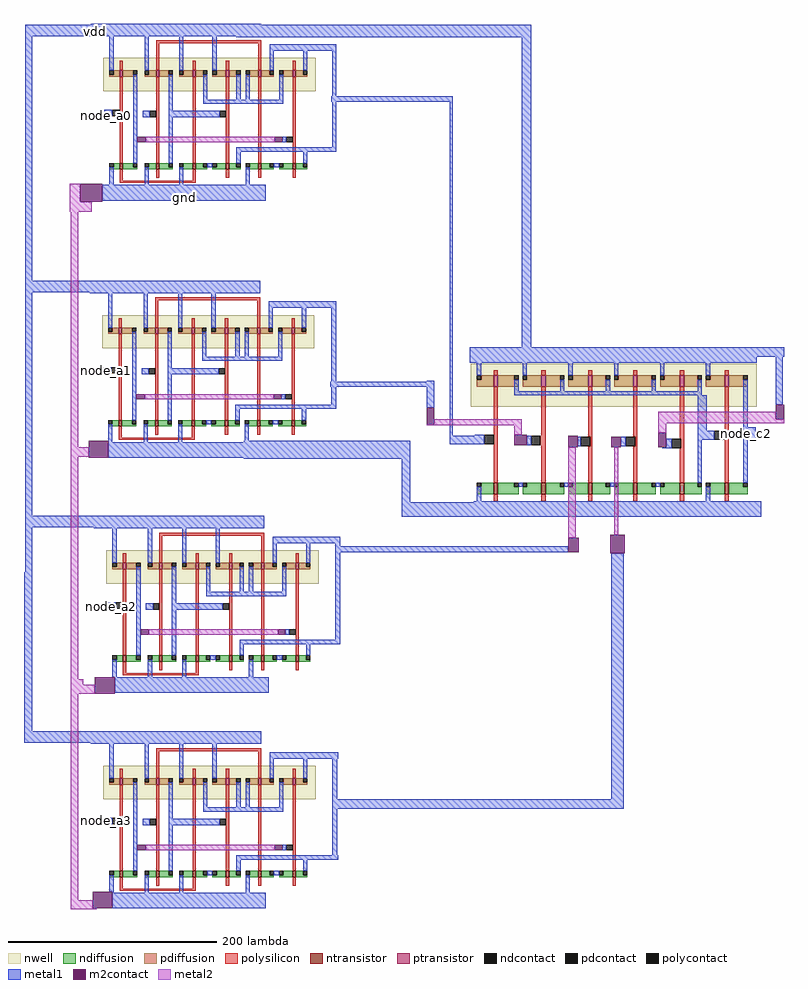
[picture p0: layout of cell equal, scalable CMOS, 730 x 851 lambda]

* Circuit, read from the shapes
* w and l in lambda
.subckt equal gnd node_a0 node_a1 node_a2 node_a3 node_b0 node_b1 node_b2 node_b3 node_c2 vdd
M1 n1 node_a1 gnd VSUBS nfet w=6 l=3
M2 n2 node_a3 gnd VSUBS nfet w=6 l=3
M3 n3 node_a0 gnd VSUBS nfet w=6 l=3
M4 n4 node_a2 gnd VSUBS nfet w=6 l=3
M5 n5 node_b1 gnd VSUBS nfet w=6 l=3
M6 n6 node_b3 gnd VSUBS nfet w=6 l=3
M7 n7 node_b0 gnd VSUBS nfet w=6 l=3
M8 n8 node_b2 gnd VSUBS nfet w=6 l=3
M9 n9 node_a1 gnd VSUBS nfet w=6 l=3
M10 n10 node_a3 gnd VSUBS nfet w=6 l=3
M11 n11 node_a0 gnd VSUBS nfet w=6 l=3
M12 n12 node_a2 gnd VSUBS nfet w=6 l=3
M13 n13 n5 n9 VSUBS nfet w=6 l=3
M14 n14 n6 n10 VSUBS nfet w=6 l=3
M15 n15 n7 n11 VSUBS nfet w=6 l=3
M16 n16 n8 n12 VSUBS nfet w=6 l=3
M17 n17 node_b1 gnd VSUBS nfet w=6 l=3
M18 n18 node_b3 gnd VSUBS nfet w=6 l=3
M19 n19 node_b0 gnd VSUBS nfet w=6 l=3
M20 n20 node_b2 gnd VSUBS nfet w=6 l=3
M21 n13 n1 n17 VSUBS nfet w=6 l=3
M22 n14 n2 n18 VSUBS nfet w=6 l=3
M23 n15 n3 n19 VSUBS nfet w=6 l=3
M24 n16 n4 n20 VSUBS nfet w=6 l=3
M25 n21 n15 gnd VSUBS nfet w=11 l=4
M26 n22 n13 n21 VSUBS nfet w=11 l=4
M27 n23 n16 n22 VSUBS nfet w=11 l=4
M28 n24 n14 n23 VSUBS nfet w=11 l=4
M29 n25 vdd n24 VSUBS nfet w=11 l=4
M30 node_c2 n25 gnd VSUBS nfet w=11 l=4
M31 n1 node_a1 vdd n26 pfet w=6 l=3
M32 n2 node_a3 vdd n27 pfet w=6 l=3
M33 n3 node_a0 vdd n28 pfet w=6 l=3
M34 n4 node_a2 vdd n29 pfet w=6 l=3
M35 n5 node_b1 vdd n26 pfet w=6 l=3
M36 n6 node_b3 vdd n27 pfet w=6 l=3
M37 n7 node_b0 vdd n28 pfet w=6 l=3
M38 n8 node_b2 vdd n29 pfet w=6 l=3
M39 n30 node_a1 vdd n26 pfet w=6 l=3
M40 n31 node_a3 vdd n27 pfet w=6 l=3
M41 n32 node_a0 vdd n28 pfet w=6 l=3
M42 n33 node_a2 vdd n29 pfet w=6 l=3
M43 n30 n5 vdd n26 pfet w=6 l=3
M44 n31 n6 vdd n27 pfet w=6 l=3
M45 n32 n7 vdd n28 pfet w=6 l=3
M46 n33 n8 vdd n29 pfet w=6 l=3
M47 n13 node_b1 n30 n26 pfet w=6 l=3
M48 n14 node_b3 n31 n27 pfet w=6 l=3
M49 n15 node_b0 n32 n28 pfet w=6 l=3
M50 n16 node_b2 n33 n29 pfet w=6 l=3
M51 n13 n1 n30 n26 pfet w=6 l=3
M52 n14 n2 n31 n27 pfet w=6 l=3
M53 n15 n3 n32 n28 pfet w=6 l=3
M54 n16 n4 n33 n29 pfet w=6 l=3
M55 n25 n15 vdd n34 pfet w=11 l=4
M56 n25 n13 vdd n34 pfet w=11 l=4
M57 n25 n16 vdd n34 pfet w=11 l=4
M58 n25 n14 vdd n34 pfet w=11 l=4
M59 n25 vdd vdd n34 pfet w=11 l=4
M60 node_c2 n25 vdd n34 pfet w=11 l=4
.ends

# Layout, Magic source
magic
tech scmos
<< nwell >>
rect -1105 547 -901 579
rect -1106 300 -902 332
rect -752 244 -477 285
rect -1102 74 -898 106
rect -1105 -133 -901 -101
<< ntransistor >>
rect -1089 472 -1086 478
rect -1054 472 -1051 478
rect -1019 472 -1016 478
rect -987 472 -984 478
rect -956 472 -953 478
rect -923 472 -920 478
rect -1090 225 -1087 231
rect -1055 225 -1052 231
rect -1020 225 -1017 231
rect -988 225 -985 231
rect -957 225 -954 231
rect -924 225 -921 231
rect -730 160 -726 171
rect -684 160 -680 171
rect -639 160 -635 171
rect -596 160 -592 171
rect -551 160 -547 171
rect -508 160 -504 171
rect -1086 -1 -1083 5
rect -1051 -1 -1048 5
rect -1016 -1 -1013 5
rect -984 -1 -981 5
rect -953 -1 -950 5
rect -920 -1 -917 5
rect -1089 -208 -1086 -202
rect -1054 -208 -1051 -202
rect -1019 -208 -1016 -202
rect -987 -208 -984 -202
rect -956 -208 -953 -202
rect -923 -208 -920 -202
<< ptransistor >>
rect -1089 561 -1086 567
rect -1054 561 -1051 567
rect -1019 561 -1016 567
rect -987 561 -984 567
rect -956 561 -953 567
rect -923 561 -920 567
rect -1090 314 -1087 320
rect -1055 314 -1052 320
rect -1020 314 -1017 320
rect -988 314 -985 320
rect -957 314 -954 320
rect -924 314 -921 320
rect -730 263 -726 274
rect -684 263 -680 274
rect -639 263 -635 274
rect -596 263 -592 274
rect -551 263 -547 274
rect -508 263 -504 274
rect -1086 88 -1083 94
rect -1051 88 -1048 94
rect -1016 88 -1013 94
rect -984 88 -981 94
rect -953 88 -950 94
rect -920 88 -917 94
rect -1089 -119 -1086 -113
rect -1054 -119 -1051 -113
rect -1019 -119 -1016 -113
rect -987 -119 -984 -113
rect -956 -119 -953 -113
rect -923 -119 -920 -113
<< ndiffusion >>
rect -1095 474 -1089 478
rect -1099 472 -1089 474
rect -1086 474 -1076 478
rect -1086 472 -1072 474
rect -1061 474 -1054 478
rect -1065 472 -1054 474
rect -1051 474 -1042 478
rect -1051 472 -1038 474
rect -1028 474 -1019 478
rect -1032 472 -1019 474
rect -1016 474 -1009 478
rect -1016 472 -1005 474
rect -996 474 -987 478
rect -1000 472 -987 474
rect -984 474 -977 478
rect -984 472 -973 474
rect -964 474 -956 478
rect -968 472 -956 474
rect -953 474 -945 478
rect -953 472 -941 474
rect -932 474 -923 478
rect -936 472 -923 474
rect -920 474 -913 478
rect -920 472 -909 474
rect -1096 227 -1090 231
rect -1100 225 -1090 227
rect -1087 227 -1077 231
rect -1087 225 -1073 227
rect -1062 227 -1055 231
rect -1066 225 -1055 227
rect -1052 227 -1043 231
rect -1052 225 -1039 227
rect -1029 227 -1020 231
rect -1033 225 -1020 227
rect -1017 227 -1010 231
rect -1017 225 -1006 227
rect -997 227 -988 231
rect -1001 225 -988 227
rect -985 227 -978 231
rect -985 225 -974 227
rect -965 227 -957 231
rect -969 225 -957 227
rect -954 227 -946 231
rect -954 225 -942 227
rect -933 227 -924 231
rect -937 225 -924 227
rect -921 227 -914 231
rect -921 225 -910 227
rect -742 167 -730 171
rect -746 160 -730 167
rect -726 167 -710 171
rect -726 160 -706 167
rect -698 167 -684 171
rect -702 160 -684 167
rect -680 167 -666 171
rect -680 160 -662 167
rect -654 167 -639 171
rect -658 160 -639 167
rect -635 167 -622 171
rect -635 160 -618 167
rect -610 167 -596 171
rect -614 160 -596 167
rect -592 167 -578 171
rect -592 160 -574 167
rect -566 167 -551 171
rect -570 160 -551 167
rect -547 167 -534 171
rect -547 160 -530 167
rect -522 167 -508 171
rect -526 160 -508 167
rect -504 167 -490 171
rect -504 160 -486 167
rect -1092 1 -1086 5
rect -1096 -1 -1086 1
rect -1083 1 -1073 5
rect -1083 -1 -1069 1
rect -1058 1 -1051 5
rect -1062 -1 -1051 1
rect -1048 1 -1039 5
rect -1048 -1 -1035 1
rect -1025 1 -1016 5
rect -1029 -1 -1016 1
rect -1013 1 -1006 5
rect -1013 -1 -1002 1
rect -993 1 -984 5
rect -997 -1 -984 1
rect -981 1 -974 5
rect -981 -1 -970 1
rect -961 1 -953 5
rect -965 -1 -953 1
rect -950 1 -942 5
rect -950 -1 -938 1
rect -929 1 -920 5
rect -933 -1 -920 1
rect -917 1 -910 5
rect -917 -1 -906 1
rect -1095 -206 -1089 -202
rect -1099 -208 -1089 -206
rect -1086 -206 -1076 -202
rect -1086 -208 -1072 -206
rect -1061 -206 -1054 -202
rect -1065 -208 -1054 -206
rect -1051 -206 -1042 -202
rect -1051 -208 -1038 -206
rect -1028 -206 -1019 -202
rect -1032 -208 -1019 -206
rect -1016 -206 -1009 -202
rect -1016 -208 -1005 -206
rect -996 -206 -987 -202
rect -1000 -208 -987 -206
rect -984 -206 -977 -202
rect -984 -208 -973 -206
rect -964 -206 -956 -202
rect -968 -208 -956 -206
rect -953 -206 -945 -202
rect -953 -208 -941 -206
rect -932 -206 -923 -202
rect -936 -208 -923 -206
rect -920 -206 -913 -202
rect -920 -208 -909 -206
<< pdiffusion >>
rect -1095 563 -1089 567
rect -1099 561 -1089 563
rect -1086 563 -1076 567
rect -1086 561 -1072 563
rect -1061 563 -1054 567
rect -1065 561 -1054 563
rect -1051 563 -1042 567
rect -1051 561 -1038 563
rect -1028 563 -1019 567
rect -1032 561 -1019 563
rect -1016 563 -1009 567
rect -1016 561 -1005 563
rect -996 563 -987 567
rect -1000 561 -987 563
rect -984 563 -977 567
rect -984 561 -973 563
rect -964 563 -956 567
rect -968 561 -956 563
rect -953 563 -945 567
rect -953 561 -941 563
rect -932 563 -923 567
rect -936 561 -923 563
rect -920 563 -913 567
rect -920 561 -909 563
rect -1096 316 -1090 320
rect -1100 314 -1090 316
rect -1087 316 -1077 320
rect -1087 314 -1073 316
rect -1062 316 -1055 320
rect -1066 314 -1055 316
rect -1052 316 -1043 320
rect -1052 314 -1039 316
rect -1029 316 -1020 320
rect -1033 314 -1020 316
rect -1017 316 -1010 320
rect -1017 314 -1006 316
rect -997 316 -988 320
rect -1001 314 -988 316
rect -985 316 -978 320
rect -985 314 -974 316
rect -965 316 -957 320
rect -969 314 -957 316
rect -954 316 -946 320
rect -954 314 -942 316
rect -933 316 -924 320
rect -937 314 -924 316
rect -921 316 -914 320
rect -921 314 -910 316
rect -742 270 -730 274
rect -746 263 -730 270
rect -726 270 -710 274
rect -726 263 -706 270
rect -698 270 -684 274
rect -702 263 -684 270
rect -680 270 -666 274
rect -680 263 -662 270
rect -654 270 -639 274
rect -658 263 -639 270
rect -635 270 -622 274
rect -635 263 -618 270
rect -610 270 -596 274
rect -614 263 -596 270
rect -592 270 -578 274
rect -592 263 -574 270
rect -566 270 -551 274
rect -570 263 -551 270
rect -547 270 -534 274
rect -547 263 -530 270
rect -522 270 -508 274
rect -526 263 -508 270
rect -504 270 -490 274
rect -504 263 -486 270
rect -1092 90 -1086 94
rect -1096 88 -1086 90
rect -1083 90 -1073 94
rect -1083 88 -1069 90
rect -1058 90 -1051 94
rect -1062 88 -1051 90
rect -1048 90 -1039 94
rect -1048 88 -1035 90
rect -1025 90 -1016 94
rect -1029 88 -1016 90
rect -1013 90 -1006 94
rect -1013 88 -1002 90
rect -993 90 -984 94
rect -997 88 -984 90
rect -981 90 -974 94
rect -981 88 -970 90
rect -961 90 -953 94
rect -965 88 -953 90
rect -950 90 -942 94
rect -950 88 -938 90
rect -929 90 -920 94
rect -933 88 -920 90
rect -917 90 -910 94
rect -917 88 -906 90
rect -1095 -117 -1089 -113
rect -1099 -119 -1089 -117
rect -1086 -117 -1076 -113
rect -1086 -119 -1072 -117
rect -1061 -117 -1054 -113
rect -1065 -119 -1054 -117
rect -1051 -117 -1042 -113
rect -1051 -119 -1038 -117
rect -1028 -117 -1019 -113
rect -1032 -119 -1019 -117
rect -1016 -117 -1009 -113
rect -1016 -119 -1005 -117
rect -996 -117 -987 -113
rect -1000 -119 -987 -117
rect -984 -117 -977 -113
rect -984 -119 -973 -117
rect -964 -117 -956 -113
rect -968 -119 -956 -117
rect -953 -117 -945 -113
rect -953 -119 -941 -117
rect -932 -117 -923 -113
rect -936 -119 -923 -117
rect -920 -117 -913 -113
rect -920 -119 -909 -117
<< ndcontact >>
rect -1099 474 -1095 478
rect -1076 474 -1072 478
rect -1065 474 -1061 478
rect -1042 474 -1038 478
rect -1032 474 -1028 478
rect -1009 474 -1005 478
rect -1000 474 -996 478
rect -977 474 -973 478
rect -968 474 -964 478
rect -945 474 -941 478
rect -936 474 -932 478
rect -913 474 -909 478
rect -1100 227 -1096 231
rect -1077 227 -1073 231
rect -1066 227 -1062 231
rect -1043 227 -1039 231
rect -1033 227 -1029 231
rect -1010 227 -1006 231
rect -1001 227 -997 231
rect -978 227 -974 231
rect -969 227 -965 231
rect -946 227 -942 231
rect -937 227 -933 231
rect -914 227 -910 231
rect -746 167 -742 171
rect -710 167 -706 171
rect -702 167 -698 171
rect -666 167 -662 171
rect -658 167 -654 171
rect -622 167 -618 171
rect -614 167 -610 171
rect -578 167 -574 171
rect -570 167 -566 171
rect -534 167 -530 171
rect -526 167 -522 171
rect -490 167 -486 171
rect -1096 1 -1092 5
rect -1073 1 -1069 5
rect -1062 1 -1058 5
rect -1039 1 -1035 5
rect -1029 1 -1025 5
rect -1006 1 -1002 5
rect -997 1 -993 5
rect -974 1 -970 5
rect -965 1 -961 5
rect -942 1 -938 5
rect -933 1 -929 5
rect -910 1 -906 5
rect -1099 -206 -1095 -202
rect -1076 -206 -1072 -202
rect -1065 -206 -1061 -202
rect -1042 -206 -1038 -202
rect -1032 -206 -1028 -202
rect -1009 -206 -1005 -202
rect -1000 -206 -996 -202
rect -977 -206 -973 -202
rect -968 -206 -964 -202
rect -945 -206 -941 -202
rect -936 -206 -932 -202
rect -913 -206 -909 -202
<< pdcontact >>
rect -1099 563 -1095 567
rect -1076 563 -1072 567
rect -1065 563 -1061 567
rect -1042 563 -1038 567
rect -1032 563 -1028 567
rect -1009 563 -1005 567
rect -1000 563 -996 567
rect -977 563 -973 567
rect -968 563 -964 567
rect -945 563 -941 567
rect -936 563 -932 567
rect -913 563 -909 567
rect -1100 316 -1096 320
rect -1077 316 -1073 320
rect -1066 316 -1062 320
rect -1043 316 -1039 320
rect -1033 316 -1029 320
rect -1010 316 -1006 320
rect -1001 316 -997 320
rect -978 316 -974 320
rect -969 316 -965 320
rect -946 316 -942 320
rect -937 316 -933 320
rect -914 316 -910 320
rect -746 270 -742 274
rect -710 270 -706 274
rect -702 270 -698 274
rect -666 270 -662 274
rect -658 270 -654 274
rect -622 270 -618 274
rect -614 270 -610 274
rect -578 270 -574 274
rect -570 270 -566 274
rect -534 270 -530 274
rect -526 270 -522 274
rect -490 270 -486 274
rect -1096 90 -1092 94
rect -1073 90 -1069 94
rect -1062 90 -1058 94
rect -1039 90 -1035 94
rect -1029 90 -1025 94
rect -1006 90 -1002 94
rect -997 90 -993 94
rect -974 90 -970 94
rect -965 90 -961 94
rect -942 90 -938 94
rect -933 90 -929 94
rect -910 90 -906 94
rect -1099 -117 -1095 -113
rect -1076 -117 -1072 -113
rect -1065 -117 -1061 -113
rect -1042 -117 -1038 -113
rect -1032 -117 -1028 -113
rect -1009 -117 -1005 -113
rect -1000 -117 -996 -113
rect -977 -117 -973 -113
rect -968 -117 -964 -113
rect -945 -117 -941 -113
rect -936 -117 -932 -113
rect -913 -117 -909 -113
<< polysilicon >>
rect -1054 593 -953 596
rect -1089 567 -1086 576
rect -1054 567 -1051 593
rect -1019 567 -1016 576
rect -987 567 -984 576
rect -956 567 -953 593
rect -923 567 -920 576
rect -1089 478 -1086 561
rect -1054 478 -1051 561
rect -1019 478 -1016 561
rect -987 478 -984 561
rect -956 478 -953 561
rect -923 478 -920 561
rect -1089 461 -1086 472
rect -1054 464 -1051 472
rect -1019 461 -1016 472
rect -987 464 -984 472
rect -956 464 -953 472
rect -923 464 -920 472
rect -1089 459 -1016 461
rect -1055 346 -954 349
rect -1090 320 -1087 329
rect -1055 320 -1052 346
rect -1020 320 -1017 329
rect -988 320 -985 329
rect -957 320 -954 346
rect -924 320 -921 329
rect -1090 231 -1087 314
rect -1055 231 -1052 314
rect -1020 231 -1017 314
rect -988 231 -985 314
rect -957 231 -954 314
rect -924 231 -921 314
rect -730 274 -726 279
rect -684 274 -680 279
rect -639 274 -635 279
rect -596 274 -592 279
rect -551 274 -547 279
rect -508 274 -504 279
rect -1090 214 -1087 225
rect -1055 217 -1052 225
rect -1020 214 -1017 225
rect -988 217 -985 225
rect -957 217 -954 225
rect -924 217 -921 225
rect -1090 212 -1017 214
rect -730 171 -726 263
rect -684 216 -680 263
rect -685 207 -680 216
rect -639 215 -635 263
rect -596 215 -592 263
rect -684 171 -680 207
rect -637 206 -635 215
rect -594 206 -592 215
rect -551 213 -547 263
rect -639 171 -635 206
rect -596 171 -592 206
rect -550 204 -547 213
rect -551 171 -547 204
rect -508 171 -504 263
rect -730 153 -726 160
rect -684 153 -680 160
rect -639 153 -635 160
rect -596 153 -592 160
rect -551 153 -547 160
rect -508 153 -504 160
rect -1051 120 -950 123
rect -1086 94 -1083 103
rect -1051 94 -1048 120
rect -1016 94 -1013 103
rect -984 94 -981 103
rect -953 94 -950 120
rect -920 94 -917 103
rect -1086 5 -1083 88
rect -1051 5 -1048 88
rect -1016 5 -1013 88
rect -984 5 -981 88
rect -953 5 -950 88
rect -920 5 -917 88
rect -1086 -12 -1083 -1
rect -1051 -9 -1048 -1
rect -1016 -12 -1013 -1
rect -984 -9 -981 -1
rect -953 -9 -950 -1
rect -920 -9 -917 -1
rect -1086 -14 -1013 -12
rect -1054 -87 -953 -84
rect -1089 -113 -1086 -104
rect -1054 -113 -1051 -87
rect -1019 -113 -1016 -104
rect -987 -113 -984 -104
rect -956 -113 -953 -87
rect -923 -113 -920 -104
rect -1089 -202 -1086 -119
rect -1054 -202 -1051 -119
rect -1019 -202 -1016 -119
rect -987 -202 -984 -119
rect -956 -202 -953 -119
rect -923 -202 -920 -119
rect -1089 -219 -1086 -208
rect -1054 -216 -1051 -208
rect -1019 -219 -1016 -208
rect -987 -216 -984 -208
rect -956 -216 -953 -208
rect -923 -216 -920 -208
rect -1089 -221 -1016 -219
<< polycontact >>
rect -1096 523 -1089 529
rect -1060 522 -1054 528
rect -993 522 -987 528
rect -929 498 -923 503
rect -1097 276 -1090 282
rect -1061 275 -1055 281
rect -994 275 -988 281
rect -930 251 -924 256
rect -739 208 -730 217
rect -694 207 -685 216
rect -646 206 -637 215
rect -603 206 -594 215
rect -559 204 -550 213
rect -518 212 -508 221
rect -1093 50 -1086 56
rect -1057 49 -1051 55
rect -990 49 -984 55
rect -926 25 -920 30
rect -1096 -157 -1089 -151
rect -1060 -158 -1054 -152
rect -993 -158 -987 -152
rect -929 -182 -923 -177
<< metal1 >>
rect -1117 611 -953 612
rect -1180 600 -694 611
rect -1180 365 -1173 600
rect -1099 567 -1095 600
rect -1065 567 -1061 600
rect -1032 567 -1028 600
rect -1000 567 -996 600
rect -977 599 -694 600
rect -945 586 -881 592
rect -945 567 -941 586
rect -913 567 -909 586
rect -1104 523 -1096 529
rect -1076 478 -1072 563
rect -1042 528 -1038 563
rect -1009 539 -1005 563
rect -977 539 -973 563
rect -968 539 -964 563
rect -936 539 -932 563
rect -885 542 -881 586
rect -1009 535 -932 539
rect -886 537 -769 542
rect -1067 522 -1060 528
rect -1042 522 -993 528
rect -1042 478 -1038 522
rect -933 498 -929 503
rect -885 493 -881 537
rect -977 489 -881 493
rect -977 478 -973 489
rect -913 478 -909 489
rect -1005 474 -1000 478
rect -941 474 -936 478
rect -1099 457 -1095 474
rect -1065 457 -1061 474
rect -1032 457 -1028 474
rect -968 457 -964 474
rect -1106 442 -949 457
rect -1180 354 -954 365
rect -1180 139 -1173 354
rect -1118 353 -954 354
rect -1100 320 -1096 353
rect -1066 320 -1062 353
rect -1033 320 -1029 353
rect -1001 320 -997 353
rect -946 339 -881 345
rect -946 320 -942 339
rect -914 320 -910 339
rect -1105 276 -1097 282
rect -1077 231 -1073 316
rect -1043 281 -1039 316
rect -1010 292 -1006 316
rect -978 292 -974 316
rect -969 292 -965 316
rect -937 292 -933 316
rect -1010 288 -933 292
rect -1068 275 -1061 281
rect -1043 275 -994 281
rect -1043 231 -1039 275
rect -886 268 -881 339
rect -794 268 -787 269
rect -887 263 -787 268
rect -934 251 -930 256
rect -886 246 -881 263
rect -978 242 -881 246
rect -794 243 -787 263
rect -978 231 -974 242
rect -914 231 -910 242
rect -1006 227 -1001 231
rect -942 227 -937 231
rect -1100 210 -1096 227
rect -1066 210 -1062 227
rect -1033 210 -1029 227
rect -969 211 -965 227
rect -772 216 -769 537
rect -703 301 -694 599
rect -753 292 -451 301
rect -753 286 -477 292
rect -746 274 -742 286
rect -702 274 -698 286
rect -658 274 -654 286
rect -614 274 -610 286
rect -570 274 -566 286
rect -526 274 -522 286
rect -710 259 -706 270
rect -666 259 -662 270
rect -622 259 -618 270
rect -578 259 -574 270
rect -534 259 -530 270
rect -710 255 -530 259
rect -534 221 -525 255
rect -490 224 -486 270
rect -459 246 -452 292
rect -748 216 -739 217
rect -970 210 -810 211
rect -1100 195 -810 210
rect -772 208 -739 216
rect -698 207 -694 216
rect -649 206 -646 215
rect -608 206 -603 215
rect -564 205 -559 213
rect -568 204 -559 205
rect -534 212 -518 221
rect -490 212 -478 224
rect -970 194 -810 195
rect -818 152 -810 194
rect -534 171 -530 212
rect -490 171 -486 212
rect -706 167 -702 171
rect -662 167 -658 171
rect -618 167 -614 171
rect -574 167 -570 171
rect -746 153 -742 167
rect -526 153 -522 167
rect -749 152 -473 153
rect -1180 128 -950 139
rect -818 138 -473 152
rect -1180 85 -1173 128
rect -1114 127 -950 128
rect -1096 94 -1092 127
rect -1062 94 -1058 127
rect -1029 94 -1025 127
rect -997 94 -993 127
rect -942 113 -877 119
rect -942 94 -938 113
rect -910 94 -906 113
rect -1181 -68 -1173 85
rect -1101 50 -1093 56
rect -1073 5 -1069 90
rect -1039 55 -1035 90
rect -1006 66 -1002 90
rect -974 66 -970 90
rect -882 110 -877 113
rect -882 104 -658 110
rect -965 66 -961 90
rect -933 66 -929 90
rect -1006 62 -929 66
rect -1064 49 -1057 55
rect -1039 49 -990 55
rect -1039 5 -1035 49
rect -930 25 -926 30
rect -882 20 -877 104
rect -974 16 -877 20
rect -974 5 -970 16
rect -910 5 -906 16
rect -1002 1 -997 5
rect -938 1 -933 5
rect -1096 -16 -1092 1
rect -1062 -16 -1058 1
rect -1029 -16 -1025 1
rect -965 -16 -961 1
rect -1094 -31 -946 -16
rect -1181 -79 -953 -68
rect -1117 -80 -953 -79
rect -1099 -113 -1095 -80
rect -1065 -113 -1061 -80
rect -1032 -113 -1028 -80
rect -1000 -113 -996 -80
rect -945 -94 -879 -88
rect -945 -113 -941 -94
rect -913 -113 -909 -94
rect -1104 -157 -1096 -151
rect -1076 -202 -1072 -117
rect -1042 -152 -1038 -117
rect -1009 -141 -1005 -117
rect -977 -141 -973 -117
rect -968 -141 -964 -117
rect -936 -141 -932 -117
rect -1009 -145 -932 -141
rect -885 -133 -880 -94
rect -617 -133 -605 103
rect -885 -142 -605 -133
rect -1067 -158 -1060 -152
rect -1042 -158 -993 -152
rect -1042 -202 -1038 -158
rect -933 -182 -929 -177
rect -885 -187 -880 -142
rect -977 -191 -879 -187
rect -977 -202 -973 -191
rect -913 -202 -909 -191
rect -1005 -206 -1000 -202
rect -941 -206 -936 -202
rect -1099 -222 -1095 -206
rect -1096 -223 -1095 -222
rect -1065 -223 -1061 -206
rect -1032 -223 -1028 -206
rect -968 -223 -964 -206
rect -1096 -238 -949 -223
<< m2contact >>
rect -1072 498 -1064 503
rect -940 498 -933 503
rect -1127 441 -1106 458
rect -1073 251 -1065 256
rect -941 251 -934 256
rect -794 227 -787 243
rect -1119 195 -1100 211
rect -459 232 -451 246
rect -710 207 -698 217
rect -658 205 -649 216
rect -617 205 -608 215
rect -572 205 -564 219
rect -658 104 -648 118
rect -1069 25 -1061 30
rect -937 25 -930 30
rect -618 103 -604 121
rect -1113 -32 -1094 -16
rect -1072 -182 -1064 -177
rect -940 -182 -933 -177
rect -1115 -238 -1096 -222
<< metal2 >>
rect -1064 498 -940 503
rect -1137 441 -1127 458
rect -1137 431 -1116 441
rect -1136 205 -1129 431
rect -1065 251 -941 256
rect -572 232 -459 239
rect -787 227 -703 232
rect -794 226 -703 227
rect -710 217 -703 226
rect -572 228 -451 232
rect -572 219 -564 228
rect -1136 196 -1119 205
rect -1136 -18 -1129 196
rect -658 118 -651 205
rect -614 121 -610 205
rect -1061 25 -937 30
rect -1136 -23 -1124 -18
rect -1136 -32 -1113 -23
rect -1136 -230 -1129 -32
rect -1064 -182 -940 -177
rect -1136 -238 -1115 -230
rect -1136 -239 -1111 -238
<< labels >>
rlabel metal1 -1102 524 -1102 524 1 node_a0
rlabel metal1 -1064 526 -1064 526 1 node_b0
rlabel metal1 -1102 279 -1102 279 1 node_a1
rlabel metal1 -1066 278 -1066 278 1 node_b1
rlabel metal1 -1097 52 -1097 52 1 node_a2
rlabel metal1 -1060 51 -1060 51 1 node_b2
rlabel metal1 -1102 -154 -1102 -154 1 node_a3
rlabel metal1 -1064 -155 -1064 -155 1 node_b3
rlabel metal1 -1112 604 -1112 604 1 vdd
rlabel metal1 -1027 445 -1027 445 1 gnd
rlabel metal1 -487 218 -487 218 1 node_c2
<< end >>
